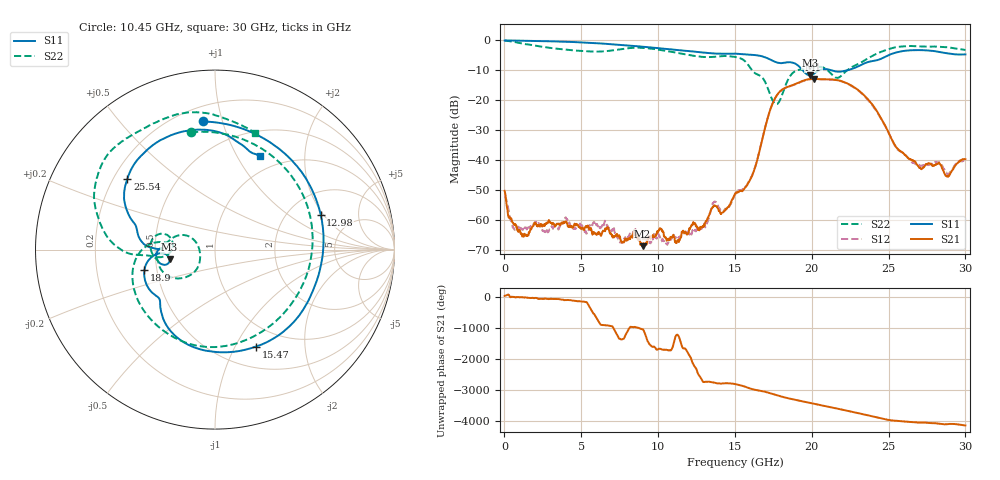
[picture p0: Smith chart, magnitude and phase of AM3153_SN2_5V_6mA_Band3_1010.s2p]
!Agilent Technologies,E8364B,MY43040894,A.07.50.67
!Agilent E8364B: A.07.50.67
!Date: Wednesday, May 13, 2020 06:23:06
!Correction: S11(Full 2 Port(1,2))
!S21(Full 2 Port(1,2))
!S12(Full 2 Port(1,2))
!S22(Full 2 Port(1,2))
!S2P File: Measurements: S11, S21, S12, S22:
# Hz S  dB  R 50
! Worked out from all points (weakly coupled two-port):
!   1601 points, 10 MHz to 30 GHz, reference 50 ohm
!   highest |S21| = -12.93 dB at 20.12 GHz (marker M1); lowest = -68.8 dB at 8.988 GHz (marker M2)
!   lowest |S11| = -11.7 dB at 19.88 GHz (marker M3), VSWR 1.70, Z = 29.7 - j3.39 ohm
!   |S11| at or under -10 dB: 19.4 GHz to 20.51 GHz (1.109 GHz wide, 5.56 % of centre); 21.24 GHz to 22.36 GHz (1.122 GHz wide, 5.15 % of centre)
!   |S22| runs from -21.4 to -0.1 dB; largest |S21 - S12| = 0.0044
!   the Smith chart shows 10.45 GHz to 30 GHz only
!   S11 on the Smith chart (normalised r, x): 10.45 GHz: 0.29, +0.86; 12.98 GHz: 2.97, +1.88; 15.47 GHz: 0.74, -1.22; 18.9 GHz: 0.43, -0.11; 25.54 GHz: 0.26, +0.33; 30 GHz: 0.80, +1.25
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1e7  -0.11 -2.0  -50.30 23.9  -51.78 0.3  -0.10 -4.6
1.228344e9  -0.19 -34.9  -65.17 -26.7  -62.82 -37.3  -1.23 -79.8
2.652869e9  -0.31 -73.6  -61.47 -59.7  -64.01 -73.5  -2.35 -155.4
5.014581e9  -0.76 -133.0  -62.92 -155.3  -61.84 -144.8  -3.60 94.3
6.813981e9  -1.28 -175.3  -63.43 143.4  -62.70 112.4  -3.56 -14.4
7.882375e9  -1.68 159.8  -66.31 -154.7  -66.47 11.6  -2.79 -96.5
8.988256e9  -2.18 133.1  -68.76 23.6  -66.25 16.3  -2.55 -175.7
1.001916e10  -2.67 107.0  -63.71 114.5  -64.65 131.9  -3.16 124.3
1.045027e10  -2.88 95.6  -65.86 85.2  -67.84 -68.8  -3.52 101.6
1.298068e10  -4.15 18.3  -61.71 128.6  -61.73 127.5  -5.61 -27.4
1.5005e10  -4.50 -50.2  -51.29 61.4  -51.60 67.4  -5.59 -135.8
1.547359e10  -4.63 -67.1  -50.43 5.6  -49.83 7.5  -6.34 -162.6
1.766661e10  -7.34 -135.4  -18.90 69.7  -18.90 69.8  -21.35 -174.2
1.89037e10  -7.77 -164.1  -14.69 -84.9  -14.81 -84.4  -10.40 -151.4
1.987838e10  -11.75 -168.1  -12.99 170.9  -13.07 171.8  -9.58 -171.1
2.000958e10  -11.59 -164.9  -12.94 156.8  -13.00 157.8  -9.38 -172.8
2.012204e10  -11.25 -163.4  -12.93 145.0  -13.00 145.9  -9.22 -174.7
2.150908e10  -10.37 178.6  -13.23 5.1  -13.24 5.5  -12.33 169.2
2.291486e10  -9.00 178.3  -16.22 -145.2  -16.39 -144.5  -8.19 -175.4
2.501416e10  -4.99 153.1  -31.02 -17.3  -30.99 -13.5  -2.95 159.9
2.553899e10  -4.05 141.1  -35.98 -45.5  -36.34 -45.3  -2.31 149.5
3e10  -4.76 64.4  -39.73 165.9  -40.10 163.7  -3.26 71.2
